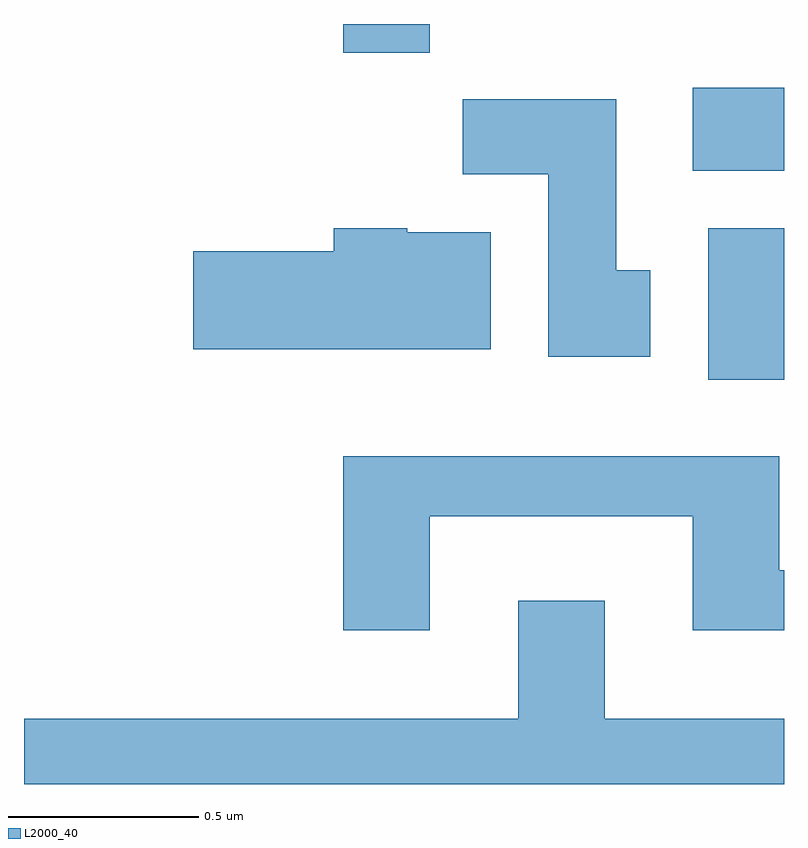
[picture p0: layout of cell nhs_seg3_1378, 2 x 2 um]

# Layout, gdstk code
import gdstk
lib = gdstk.Library(unit=1e-6, precision=1e-09)
def R(c, l, rs):  # rectangles x0, y0, x1, y1
    for r in rs: c.add(gdstk.rectangle(r[:2], r[2:], *l))
def P(c, l, *ps):  # polygons
    for p in ps: c.add(gdstk.Polygon(p, *l))
L2000_40 = (2000, 40)

nhs_seg3_1378 = lib.new_cell('nhs_seg3_1378')
R(nhs_seg3_1378, L2000_40, [(197.411,1124.956,197.611,1125.354), (197.371,1125.506,197.611,1125.724), (196.451,1125.816,196.679,1125.892)])
P(nhs_seg3_1378, L2000_40, [(197.259,1125.244),(197.169,1125.244),(197.169,1125.694),(196.766,1125.694),(196.766,1125.496),(196.991,1125.496),(196.991,1125.016),(197.259,1125.016)],
  [(196.839,1125.344),(196.62,1125.344),(196.62,1125.354),(196.426,1125.354),(196.426,1125.294),(196.056,1125.294),(196.056,1125.036),(196.839,1125.036)],
  [(196.679,1124.596),(197.371,1124.596),(197.371,1124.296),(197.611,1124.296),(197.611,1124.454),(197.599,1124.454),(197.599,1124.754),(196.451,1124.754),(196.451,1124.296),(196.679,1124.296)],
  [(197.611,1124.064),(197.139,1124.064),(197.139,1124.374),(196.911,1124.374),(196.911,1124.064),(195.611,1124.064),(195.611,1123.892),(197.611,1123.892)])

lib.write_gds('nhs_seg3_1378.gds')
